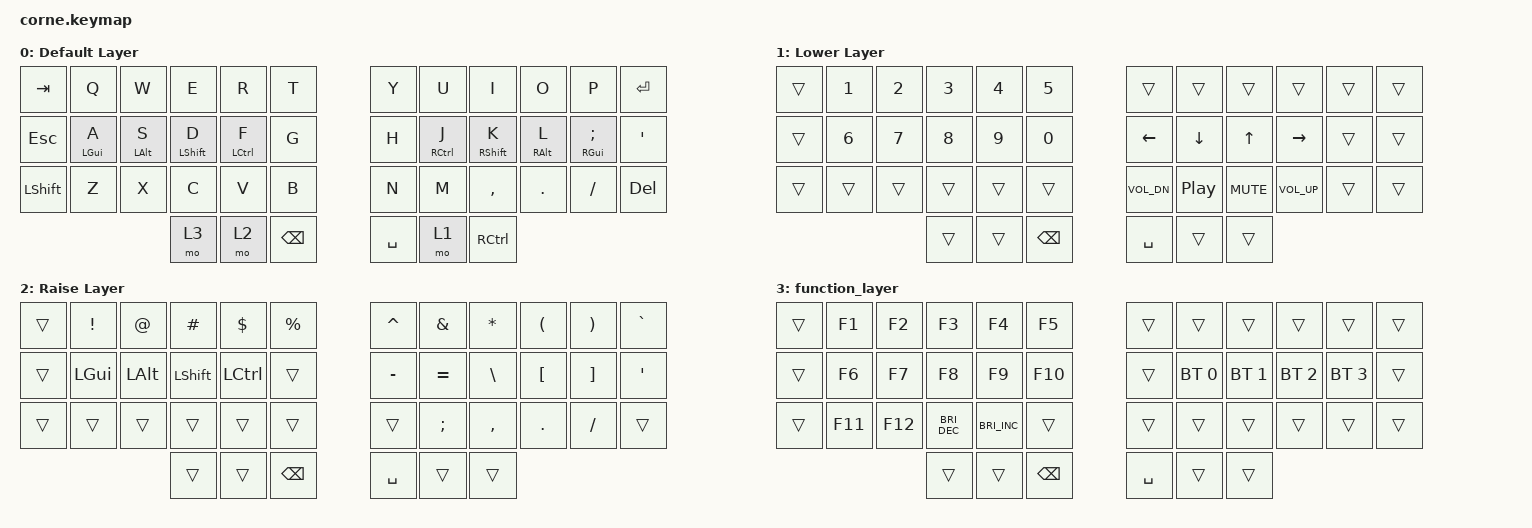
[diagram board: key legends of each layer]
/*
 * Copyright (c) 2020 The ZMK Contributors
 *
 * SPDX-License-Identifier: MIT
 */

#include <behaviors.dtsi>
#include <dt-bindings/zmk/bt.h>
#include <dt-bindings/zmk/keys.h>

/ {
    behaviors {
        hrm: hrm {
            compatible = "zmk,behavior-hold-tap";
            label = "HRM";
            bindings = <&kp>, <&kp>;

            #binding-cells = <2>;
            tapping-term-ms = <280>;
            flavor = "balanced";
            quick-tap-ms = <175>;
            require-prior-idle-ms = <125>;
        };
    };

    keymap {
        compatible = "zmk,keymap";

        default_layer {
            display-name = "Default Layer";

            // -----------------------------------------------------------------------------------------
            // |  TAB |  Q  |  W  |  E  |  R  |  T  |   |  Y  |  U   |  I  |  O  |  P  | BSPC |
            // | CTRL |  A  |  S  |  D  |  F  |  G  |   |  H  |  J   |  K  |  L  |  ;  |  '   |
            // | SHFT |  Z  |  X  |  C  |  V  |  B  |   |  N  |  M   |  ,  |  .  |  /  | ESC  |
            //                    | GUI | LWR | SPC |   | ENT | RSE  | ALT |

            bindings = <
&kp TAB     &kp Q        &kp W            &kp E              &kp R         &kp T            &kp Y      &kp U         &kp I         &kp O        &kp P           &kp ENTER
&kp ESCAPE  &hrm LGUI A  &hrm LEFT_ALT S  &hrm LEFT_SHIFT D  &hrm LCTRL F  &kp G            &kp H      &hrm RCTRL J  &hrm RSHFT K  &hrm RALT L  &hrm RGUI SEMI  &kp SQT
&kp LSHFT   &kp Z        &kp X            &kp C              &kp V         &kp B            &kp N      &kp M         &kp COMMA     &kp DOT      &kp FSLH        &kp DELETE
                                          &mo 3              &mo 2         &kp BACKSPACE    &kp SPACE  &mo 1         &kp RCTRL
            >;
        };

        lower_layer {
            display-name = "Lower Layer";

            // -----------------------------------------------------------------------------------------
            // |  TAB |  1  |  2  |  3  |  4  |  5  |   |  6  |  7  |  8  |  9  |  0  | BSPC |
            // | BTCLR| BT1 | BT2 | BT3 | BT4 | BT5 |   | LFT | DWN |  UP | RGT |     |      |
            // | SHFT |     |     |     |     |     |   |     |     |     |     |     |      |
            //                    | GUI |     | SPC |   | ENT |     | ALT |

            bindings = <
&trans  &kp N1        &kp N2  &kp N3  &kp N4  &kp N5           &trans        &trans            &trans      &trans           &trans  &trans
&trans  &kp NUMBER_6  &kp N7  &kp N8  &kp N9  &kp N0           &kp LEFT      &kp DOWN          &kp UP      &kp RIGHT        &trans  &trans
&trans  &trans        &trans  &trans  &trans  &trans           &kp C_VOL_DN  &kp C_PLAY_PAUSE  &kp C_MUTE  &kp C_VOLUME_UP  &trans  &trans
                              &trans  &trans  &kp BACKSPACE    &kp SPACE     &trans            &trans
            >;
        };

        raise_layer {
            display-name = "Raise Layer";

            // -----------------------------------------------------------------------------------------
            // |  TAB |  !  |  @  |  #  |  $  |  %  |   |  ^  |  &  |  *  |  (  |  )  | BSPC |
            // | CTRL |     |     |     |     |     |   |  -  |  =  |  [  |  ]  |  \  |  `   |
            // | SHFT |     |     |     |     |     |   |  _  |  +  |  {  |  }  | "|" |  ~   |
            //                    | GUI |     | SPC |   | ENT |     | ALT |

            bindings = <
&trans  &kp EXCL  &kp AT    &kp HASH    &kp DLLR   &kp PRCNT        &kp CARET  &kp AMPS       &kp ASTRK      &kp LPAR          &kp RPAR           &kp GRAVE
&trans  &kp LGUI  &kp LALT  &kp LSHIFT  &kp LCTRL  &trans           &kp MINUS  &kp EQUAL      &kp BACKSLASH  &kp LEFT_BRACKET  &kp RIGHT_BRACKET  &kp SINGLE_QUOTE
&trans  &trans    &trans    &trans      &trans     &trans           &trans     &kp SEMICOLON  &kp COMMA      &kp PERIOD        &kp SLASH          &trans
                            &trans      &trans     &kp BACKSPACE    &kp SPACE  &trans         &trans
            >;
        };

        function_layer {
            bindings = <
&trans  &kp F1   &kp F2   &kp F3         &kp F4                &kp F5           &trans     &trans        &trans        &trans        &trans        &trans
&trans  &kp F6   &kp F7   &kp F8         &kp F9                &kp F10          &trans     &bt BT_SEL 0  &bt BT_SEL 1  &bt BT_SEL 2  &bt BT_SEL 3  &trans
&trans  &kp F11  &kp F12  &kp C_BRI_DEC  &kp C_BRIGHTNESS_INC  &trans           &trans     &trans        &trans        &trans        &trans        &trans
                          &trans         &trans                &kp BACKSPACE    &kp SPACE  &trans        &trans
            >;
        };
    };
};
